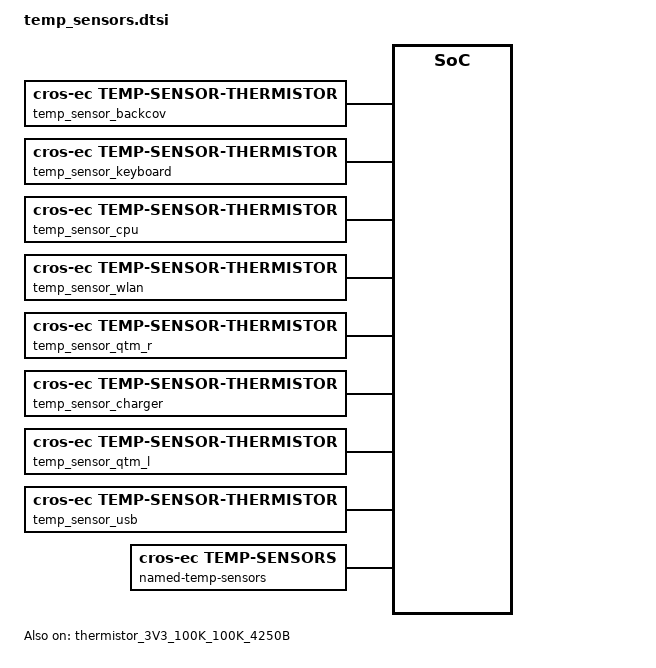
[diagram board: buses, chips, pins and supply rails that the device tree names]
/* Copyright 2025 The ChromiumOS Authors
 * Use of this source code is governed by a BSD-style license that can be
 * found in the LICENSE file.
 */

#include <cros/thermistor/thermistor.dtsi>

/ {
	named-adc-channels {

		adc_temp_backcov: backcov {
			enum-name = "ADC_TEMP_SENSOR_1";
			io-channels = <&adc0 0>;
		};
		adc_temp_keyboard: keyboard {
			enum-name = "ADC_TEMP_SENSOR_2";
			io-channels = <&adc0 1>;
		};
		adc_temp_cpu: cpu {
			enum-name = "ADC_TEMP_SENSOR_3";
			io-channels = <&adc0 2>;
		};
		adc_temp_wlan: wlan {
			enum-name = "ADC_TEMP_SENSOR_4";
			io-channels = <&adc0 3>;
		};
		adc_temp_qtm_r: qtm_r {
			enum-name = "ADC_TEMP_SENSOR_5";
			io-channels = <&adc0 4>;
		};
		adc_temp_charger: charger {
			enum-name = "ADC_TEMP_SENSOR_6";
			io-channels = <&adc0 5>;
		};
		adc_temp_qtm_l: qtm_l {
			enum-name = "ADC_TEMP_SENSOR_7";
			io-channels = <&adc0 6>;
		};
		adc_temp_usb: usb {
			enum-name = "ADC_TEMP_SENSOR_8";
			io-channels = <&adc0 7>;
		};
	};

	temp_sensor_backcov: backcov {
		compatible = "cros-ec,temp-sensor-thermistor";
		thermistor = <&thermistor_3V3_100K_100K_4250B>;
		adc = <&adc_temp_backcov>;
	};
	temp_sensor_keyboard: keyboard {
		compatible = "cros-ec,temp-sensor-thermistor";
		thermistor = <&thermistor_3V3_100K_100K_4250B>;
		adc = <&adc_temp_keyboard>;
	};
	temp_sensor_cpu: cpu {
		compatible = "cros-ec,temp-sensor-thermistor";
		thermistor = <&thermistor_3V3_100K_100K_4250B>;
		adc = <&adc_temp_cpu>;
	};
	temp_sensor_wlan: wlan {
		compatible = "cros-ec,temp-sensor-thermistor";
		thermistor = <&thermistor_3V3_100K_100K_4250B>;
		adc = <&adc_temp_wlan>;
	};
	temp_sensor_qtm_r: qtm_r {
		compatible = "cros-ec,temp-sensor-thermistor";
		thermistor = <&thermistor_3V3_100K_100K_4250B>;
		adc = <&adc_temp_qtm_r>;
	};
	temp_sensor_charger: charger {
		compatible = "cros-ec,temp-sensor-thermistor";
		thermistor = <&thermistor_3V3_100K_100K_4250B>;
		adc = <&adc_temp_charger>;
	};
	temp_sensor_qtm_l: qtm_l {
		compatible = "cros-ec,temp-sensor-thermistor";
		thermistor = <&thermistor_3V3_100K_100K_4250B>;
		adc = <&adc_temp_qtm_l>;
	};
	temp_sensor_usb: usb {
		compatible = "cros-ec,temp-sensor-thermistor";
		thermistor = <&thermistor_3V3_100K_100K_4250B>;
		adc = <&adc_temp_usb>;
	};

	named-temp-sensors {
		compatible = "cros-ec,temp-sensors";
		temp_backcov: backcov {
			sensor = <&temp_sensor_backcov>;
		};
		temp_keyboard: keyboard {
			sensor = <&temp_sensor_keyboard>;
		};
		temp_cpu: cpu {
			sensor = <&temp_sensor_cpu>;
		};
		temp_wlan: wlan {
			sensor = <&temp_sensor_wlan>;
		};
		temp_qtm_r: qtm_r {
			sensor = <&temp_sensor_qtm_r>;
		};
		temp_charger: charger {
			sensor = <&temp_sensor_charger>;
		};
		temp_qtm_l: qtm_l {
			sensor = <&temp_sensor_qtm_l>;
		};
		temp_usb: usb {
			sensor = <&temp_sensor_usb>;
		};
	};
};

&thermistor_3V3_100K_100K_4250B {
	status = "okay";
};

&adc0 {
	pinctrl-0 = <&adc0_chan0_gp45
		&adc0_chan1_gp44
		&adc0_chan2_gp43
		&adc0_chan3_gp42
		&adc0_chan4_gp41
		&adc0_chan5_gp37
		&adc0_chan6_gp34
		&adc0_chan7_gpe1>;
	pinctrl-names = "default";
};
